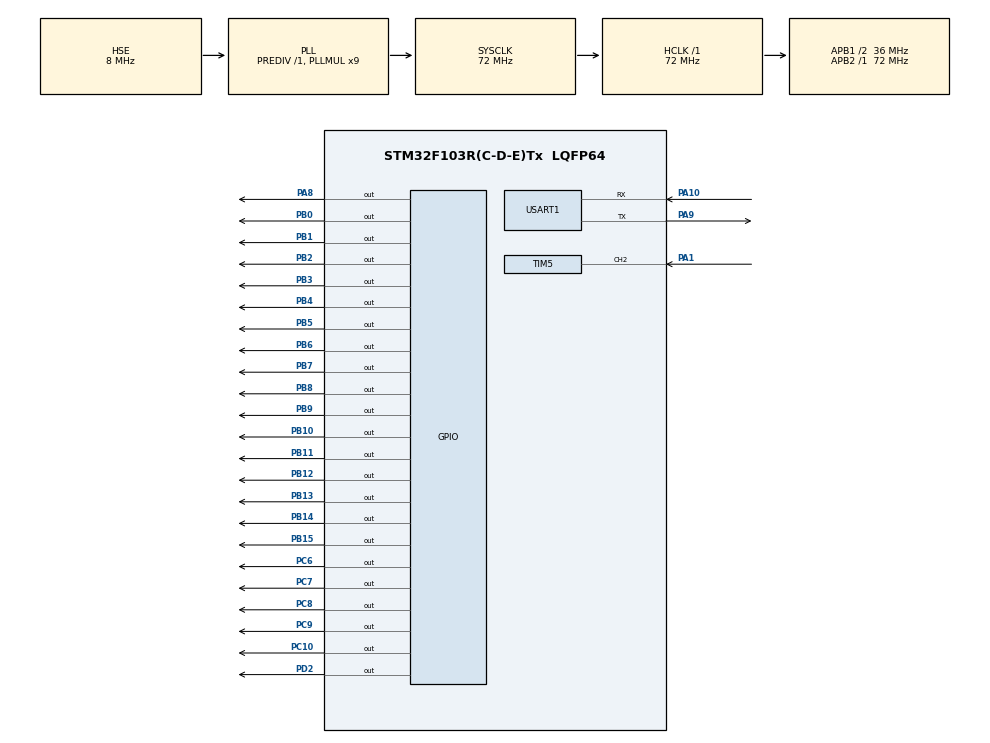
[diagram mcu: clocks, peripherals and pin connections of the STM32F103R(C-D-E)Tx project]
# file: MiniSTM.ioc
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Mcu.Family=STM32F1
Mcu.Name=STM32F103R(C-D-E)Tx
Mcu.Package=LQFP64
NVIC.PriorityGroup=NVIC_PRIORITYGROUP_4
NVIC.TIM5_IRQn=true\:10\:0\:true\:false\:true\:true\:true\:true
PA1.GPIO_PuPd=GPIO_PULLUP
PA1.Signal=S_TIM5_CH2
PA10.Mode=Asynchronous
PA10.Signal=USART1_RX
PA13.Mode=Serial_Wire
PA13.Signal=SYS_JTMS-SWDIO
PA14.Mode=Serial_Wire
PA14.Signal=SYS_JTCK-SWCLK
PA8.GPIO_PuPd=GPIO_PULLUP
PA8.Signal=GPIO_Output
PA9.Mode=Asynchronous
PA9.Signal=USART1_TX
PB0.GPIO_PuPd=GPIO_PULLUP
PB0.GPIO_Speed=GPIO_SPEED_FREQ_HIGH
PB0.Signal=GPIO_Output
PB1.GPIO_PuPd=GPIO_PULLUP
PB1.GPIO_Speed=GPIO_SPEED_FREQ_HIGH
PB1.Signal=GPIO_Output
PB10.GPIO_PuPd=GPIO_PULLUP
PB10.GPIO_Speed=GPIO_SPEED_FREQ_HIGH
PB10.Signal=GPIO_Output
PB11.GPIO_PuPd=GPIO_PULLUP
PB11.GPIO_Speed=GPIO_SPEED_FREQ_HIGH
PB11.Signal=GPIO_Output
PB12.GPIO_PuPd=GPIO_PULLUP
PB12.GPIO_Speed=GPIO_SPEED_FREQ_HIGH
PB12.Signal=GPIO_Output
PB13.GPIO_PuPd=GPIO_PULLUP
PB13.GPIO_Speed=GPIO_SPEED_FREQ_HIGH
PB13.Signal=GPIO_Output
PB14.GPIO_PuPd=GPIO_PULLUP
PB14.GPIO_Speed=GPIO_SPEED_FREQ_HIGH
PB14.Signal=GPIO_Output
PB15.GPIO_PuPd=GPIO_PULLUP
PB15.GPIO_Speed=GPIO_SPEED_FREQ_HIGH
PB15.Signal=GPIO_Output
PB2.GPIO_PuPd=GPIO_PULLUP
PB2.GPIO_Speed=GPIO_SPEED_FREQ_HIGH
PB2.Signal=GPIO_Output
PB3.GPIO_PuPd=GPIO_PULLUP
PB3.GPIO_Speed=GPIO_SPEED_FREQ_HIGH
PB3.Signal=GPIO_Output
PB4.GPIO_PuPd=GPIO_PULLUP
PB4.GPIO_Speed=GPIO_SPEED_FREQ_HIGH
PB4.Signal=GPIO_Output
PB5.GPIO_PuPd=GPIO_PULLUP
PB5.GPIO_Speed=GPIO_SPEED_FREQ_HIGH
PB5.Signal=GPIO_Output
PB6.GPIO_PuPd=GPIO_PULLUP
PB6.GPIO_Speed=GPIO_SPEED_FREQ_HIGH
PB6.Signal=GPIO_Output
PB7.GPIO_PuPd=GPIO_PULLUP
PB7.GPIO_Speed=GPIO_SPEED_FREQ_HIGH
PB7.Signal=GPIO_Output
PB8.GPIO_PuPd=GPIO_PULLUP
PB8.GPIO_Speed=GPIO_SPEED_FREQ_HIGH
PB8.Signal=GPIO_Output
PB9.GPIO_PuPd=GPIO_PULLUP
PB9.GPIO_Speed=GPIO_SPEED_FREQ_HIGH
PB9.Signal=GPIO_Output
PC10.GPIO_PuPd=GPIO_PULLUP
PC10.GPIO_Speed=GPIO_SPEED_FREQ_HIGH
PC10.Signal=GPIO_Output
PC14-OSC32_IN.Mode=LSE-External-Oscillator
PC14-OSC32_IN.Signal=RCC_OSC32_IN
PC15-OSC32_OUT.Mode=LSE-External-Oscillator
PC15-OSC32_OUT.Signal=RCC_OSC32_OUT
PC6.GPIO_PuPd=GPIO_PULLUP
PC6.GPIO_Speed=GPIO_SPEED_FREQ_HIGH
PC6.Signal=GPIO_Output
PC7.GPIO_PuPd=GPIO_PULLUP
PC7.GPIO_Speed=GPIO_SPEED_FREQ_HIGH
PC7.Signal=GPIO_Output
PC8.GPIO_PuPd=GPIO_PULLUP
PC8.GPIO_Speed=GPIO_SPEED_FREQ_HIGH
PC8.Signal=GPIO_Output
PC9.GPIO_PuPd=GPIO_PULLUP
PC9.GPIO_Speed=GPIO_SPEED_FREQ_HIGH
PC9.Signal=GPIO_Output
PD0-OSC_IN.Mode=HSE-External-Oscillator
PD0-OSC_IN.Signal=RCC_OSC_IN
PD1-OSC_OUT.Mode=HSE-External-Oscillator
PD1-OSC_OUT.Signal=RCC_OSC_OUT
PD2.GPIO_PuPd=GPIO_PULLUP
PD2.Signal=GPIO_Output
ProjectManager.HeapSize=0x200
ProjectManager.StackSize=0x400
ProjectManager.TargetToolchain=MDK-ARM V5.32
RCC.AHBFreq_Value=72000000
RCC.APB1CLKDivider=RCC_HCLK_DIV2
RCC.APB1Freq_Value=36000000
RCC.APB1TimFreq_Value=72000000
RCC.APB2Freq_Value=72000000
RCC.APB2TimFreq_Value=72000000
RCC.HCLKFreq_Value=72000000
RCC.PLLMUL=RCC_PLL_MUL9
RCC.PLLSourceVirtual=RCC_PLLSOURCE_HSE
RCC.SYSCLKFreq_VALUE=72000000
RCC.SYSCLKSource=RCC_SYSCLKSOURCE_PLLCLK
RCC.USBFreq_Value=72000000
SH.S_TIM5_CH2.0=TIM5_CH2,Input_Capture2_from_TI2
TIM4.AutoReloadPreload=TIM_AUTORELOAD_PRELOAD_DISABLE
TIM4.Channel-Output\ Compare1\ No\ Output=TIM_CHANNEL_1
TIM4.Period=1000
TIM4.Prescaler=8399
TIM5.AutoReloadPreload=TIM_AUTORELOAD_PRELOAD_ENABLE
TIM5.Channel-Input_Capture2_from_TI2=TIM_CHANNEL_2
TIM5.Period=10000
TIM5.Prescaler=71
USART1.VirtualMode=VM_ASYNC
VP_TIM4_VS_ClockSourceITR.Mode=TriggerSource_ITR0
VP_TIM5_VS_ClockSourceITR.Mode=TriggerSource_ITR0
board=custom

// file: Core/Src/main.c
/* USER CODE BEGIN Header */
/**
 ******************************************************************************
 * @file           : main.c
 * @brief          : Main program body
 ******************************************************************************
 * @attention
 *
 * Copyright (c) 2022 STMicroelectronics.
 * All rights reserved.
 *
 * This software is licensed under terms that can be found in the LICENSE file
 * in the root directory of this software component.
 * If no LICENSE file comes with this software, it is provided AS-IS.
 *
 ******************************************************************************
 */
/* USER CODE END Header */
#include "main.h"
#include "tim.h"
#include "usart.h"
#include "gpio.h"

/* USER CODE BEGIN Includes */
#include "led.h"
#include "lcd.h"
#include "uart.h"
#include "usmart.h"
#include "remote.h"
/* USER CODE END Includes */

void SystemClock_Config(void);

int main(void)
{
	/* USER CODE BEGIN 1 */
	uint8_t key;
	uint8_t t = 0;
	uint8_t *str = 0;
	/* USER CODE END 1 */

	/* MCU Configuration--------------------------------------------------------*/

	/* Reset of all peripherals, Initializes the Flash interface and the Systick. */
	HAL_Init();

	/* Configure the system clock */
	SystemClock_Config();

	/* Initialize all configured peripherals */
	MX_GPIO_Init();
	MX_USART1_UART_Init();
	MX_TIM4_Init();
	MX_TIM5_Init();
	/* USER CODE BEGIN 2 */
	LCD_Init();

	HAL_NVIC_EnableIRQ(TIM4_IRQn);
	HAL_NVIC_SetPriority(TIM4_IRQn, 9, 0);
	HAL_TIM_Base_Start_IT(&htim4);

	HAL_NVIC_EnableIRQ(USART1_IRQn);
	HAL_NVIC_SetPriority(USART1_IRQn, 9, 0);
	HAL_UART_Receive_IT(&huart1, (uint8_t *)aRxBuffer, RXBUFFERSIZE);

	HAL_TIM_IC_Start_IT(&htim5, TIM_CHANNEL_2);
	__HAL_TIM_ENABLE_IT(&htim5, TIM_IT_UPDATE);

	POINT_COLOR = RED;
	LCD_ShowString(30, 50, 200, 16, 16, "Mini STM32");
	LCD_ShowString(30, 70, 200, 16, 16, "REMOTE TEST");
	LCD_ShowString(30, 90, 200, 16, 16, "ATOM@ALIENTEK");
	LCD_ShowString(30, 110, 200, 16, 16, "2019/11/15");
	LCD_ShowString(30, 130, 200, 16, 16, "KEYVAL:");
	LCD_ShowString(30, 150, 200, 16, 16, "KEYCNT:");
	LCD_ShowString(30, 170, 200, 16, 16, "SYMBOL:");
	POINT_COLOR = BLUE;
	/* USER CODE END 2 */

	/* Infinite loop */
	/* USER CODE BEGIN WHILE */
	while (1)
	{
		key = Remote_Scan();
		if (key)
		{
			LCD_ShowNum(86, 130, key, 3, 16);
			LCD_ShowNum(86, 150, RmtCnt, 3, 16);
			switch (key)
			{
			case 0:
				str = "ERROR";
				break;
			case 162:
				str = "POWER";
				break;
			case 98:
				str = "UP";
				break;
			case 2:
				str = "PLAY";
				break;
			case 226:
				str = "ALIENTEK";
				break;
			case 194:
				str = "RIGHT";
				break;
			case 34:
				str = "LEFT";
				break;
			case 224:
				str = "VOL-";
				break;
			case 168:
				str = "DOWN";
				break;
			case 144:
				str = "VOL+";
				break;
			case 104:
				str = "1";
				break;
			case 152:
				str = "2";
				break;
			case 176:
				str = "3";
				break;
			case 48:
				str = "4";
				break;
			case 24:
				str = "5";
				break;
			case 122:
				str = "6";
				break;
			case 16:
				str = "7";
				break;
			case 56:
				str = "8";
				break;
			case 90:
				str = "9";
				break;
			case 66:
				str = "0";
				break;
			case 82:
				str = "DELETE";
				break;
			}
			LCD_Fill(86, 170, 116 + 8 * 8, 170 + 16, WHITE);
			LCD_ShowString(86, 170, 200, 16, 16, str);
		}
		else
			HAL_Delay(10);
		t++;
		if (t == 20)
		{
			t = 0;
			LED0 = !LED0;
		}
		/* USER CODE END WHILE */

	}
}

void SystemClock_Config(void)
{
	RCC_OscInitTypeDef RCC_OscInitStruct = {0};
	RCC_ClkInitTypeDef RCC_ClkInitStruct = {0};

	/** Initializes the RCC Oscillators according to the specified parameters
	 * in the RCC_OscInitTypeDef structure.
	 */
	RCC_OscInitStruct.OscillatorType = RCC_OSCILLATORTYPE_HSE;
	RCC_OscInitStruct.HSEState = RCC_HSE_ON;
	RCC_OscInitStruct.HSEPredivValue = RCC_HSE_PREDIV_DIV1;
	RCC_OscInitStruct.HSIState = RCC_HSI_ON;
	RCC_OscInitStruct.PLL.PLLState = RCC_PLL_ON;
	RCC_OscInitStruct.PLL.PLLSource = RCC_PLLSOURCE_HSE;
	RCC_OscInitStruct.PLL.PLLMUL = RCC_PLL_MUL9;
	if (HAL_RCC_OscConfig(&RCC_OscInitStruct) != HAL_OK)
	{
		Error_Handler();
	}

	/** Initializes the CPU, AHB and APB buses clocks
	 */
	RCC_ClkInitStruct.ClockType = RCC_CLOCKTYPE_HCLK | RCC_CLOCKTYPE_SYSCLK | RCC_CLOCKTYPE_PCLK1 | RCC_CLOCKTYPE_PCLK2;
	RCC_ClkInitStruct.SYSCLKSource = RCC_SYSCLKSOURCE_PLLCLK;
	RCC_ClkInitStruct.AHBCLKDivider = RCC_SYSCLK_DIV1;
	RCC_ClkInitStruct.APB1CLKDivider = RCC_HCLK_DIV2;
	RCC_ClkInitStruct.APB2CLKDivider = RCC_HCLK_DIV1;

	if (HAL_RCC_ClockConfig(&RCC_ClkInitStruct, FLASH_LATENCY_2) != HAL_OK)
	{
		Error_Handler();
	}
}

void Error_Handler(void)
{
	__disable_irq();
	while (1)
	{
	}
}
